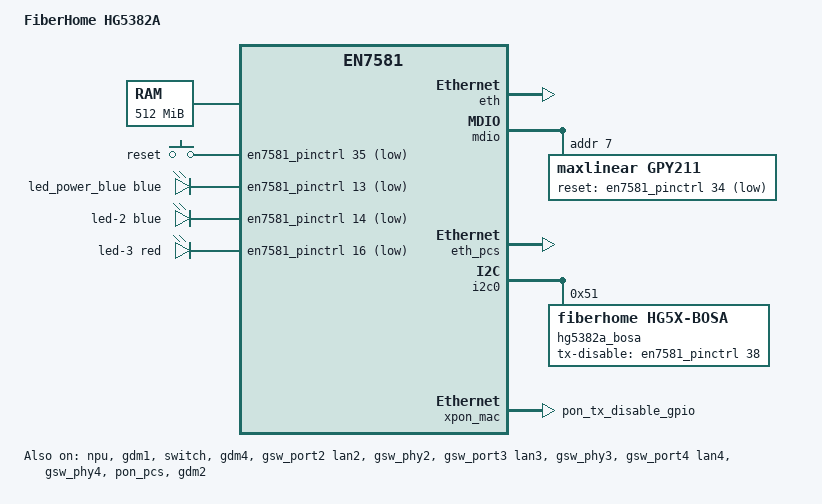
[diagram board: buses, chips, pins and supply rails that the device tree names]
// SPDX-License-Identifier: (GPL-2.0-only OR BSD-2-Clause)
/dts-v1/;

/* Firmware reserves the first 2 MiB of DRAM. */
/memreserve/ 0x80000000 0x200000;

#include <dt-bindings/gpio/gpio.h>
#include <dt-bindings/input/input.h>
#include <dt-bindings/leds/common.h>
#include "an7581.dtsi"
#include "an7581-fiberhome-ubi-parts.dtsi"

/* FiberHome HG5382A board description. */

/ {
	model = "FiberHome HG5382A";
	compatible = "fiberhome,hg5382a", "airoha,an7581", "airoha,en7581";

	aliases {
		/* OpenWrt diag state controls the power LED. */
		led-boot = &led_power_blue;
		led-failsafe = &led_power_blue;
		led-running = &led_power_blue;
		led-upgrade = &led_power_blue;

		serial0 = &uart1;
	};

	chosen {
		/* fitblk locates the FIT-embedded read-only rootfs through this volume. */
		rootdisk = <&ubi_fit>;
		bootargs = "console=ttyS0,115200 earlycon";
		stdout-path = "serial0:115200n8";
	};

	memory@80000000 {
		device_type = "memory";
		reg = <0x0 0x80000000 0x0 0x20000000>;
	};

	keys {
		compatible = "gpio-keys";

		key-reset {
			label = "reset";
			linux,code = <KEY_RESTART>;
			/* The reset key drives GPIO35 low. */
			gpios = <&en7581_pinctrl 35 GPIO_ACTIVE_LOW>;
			debounce-interval = <60>;
		};
	};

	leds {
		compatible = "gpio-leds";

		/* The active-low power LED is connected to GPIO13. */
		led_power_blue: led-0 {
			color = <LED_COLOR_ID_BLUE>;
			function = LED_FUNCTION_POWER;
			gpios = <&en7581_pinctrl 13 GPIO_ACTIVE_LOW>;
		};

		/* PON registration maps O1-O3 to fast blink, O4 to slow blink, and O5 on. */
		led-2 {
			color = <LED_COLOR_ID_BLUE>;
			function = LED_FUNCTION_WAN;
			gpios = <&en7581_pinctrl 14 GPIO_ACTIVE_LOW>;
			linux,default-trigger = "pon0-registration";
		};

		/* The LOS LED follows optical signal loss. */
		led-3 {
			color = <LED_COLOR_ID_RED>;
			function = LED_FUNCTION_WAN;
			gpios = <&en7581_pinctrl 16 GPIO_ACTIVE_LOW>;
			linux,default-trigger = "pon0-los";
		};
	};
};

&en7581_pinctrl {
	/* GPIO0 starts at pin 13 on AN7581. */
	gpio-ranges = <&en7581_pinctrl 0 13 50>;

	pon_pins: pon-pins {
		mux {
			/* Leave GPIO38/TX_DISABLE under optical frontend control. */
			function = "pon";
			groups = "pon_tx_disable_gpio";
		};
	};

	mdio_pins: mdio-pins {
		mux {
			function = "mdio";
			groups = "mdio";
		};
	};

	pnand_pins: pnand-pins {
		mux {
			/* NAND uses pins 4-7 and 30-42, leaving GPIO35 for reset. */
			function = "pnand";
			groups = "pnand";
		};
	};
};

&{/soc} {
	/* HG5382A uses an 8-bit TSOP48 parallel NAND. */
	/delete-node/ spi@1fa10000;
};

&npu {
	status = "okay";
};

&eth {
	status = "okay";
};

&gdm1 {
	/* The switch CPU port uses the board base MAC address. */
	nvmem-cells = <&fiberhome_base_mac 0>;
	nvmem-cell-names = "mac-address";
	status = "okay";
};

&switch {
	pinctrl-names = "default";
	pinctrl-0 = <&mdio_pins>;
	status = "okay";
};

&mdio {
	/* GPY211 uses MDIO address 7 and active-low GPIO34 reset. */
	gpy211: ethernet-phy@7 {
		/* Clause 45 fallback retains standard MDIO enumeration. */
		compatible = "maxlinear,gpy211",
			     "ethernet-phy-ieee802.3-c45";
		reg = <7>;
		reset-gpios = <&en7581_pinctrl 34 GPIO_ACTIVE_LOW>;
		reset-assert-us = <100000>;
		reset-deassert-us = <100000>;
	};
};

&eth_pcs {
	/* HSGMII connects the external 2.5G LAN PHY. */
	status = "okay";
};

&gdm4 {
	/* The external 2.5G port and switch CPU port share the factory base MAC. */
	nvmem-cells = <&fiberhome_base_mac 0>;
	nvmem-cell-names = "mac-address";
	status = "okay";
	phy-handle = <&gpy211>;
	phy-mode = "2500base-x";
	openwrt,netdev-name = "lan1";
};

/* Internal PHY2, PHY3, and PHY4 connect the remaining copper ports. */
&gsw_port2 {
	label = "lan2";
	status = "okay";
};

&gsw_phy2 {
	status = "okay";
};

&gsw_port3 {
	label = "lan3";
	status = "okay";
};

&gsw_phy3 {
	status = "okay";
};

&gsw_port4 {
	label = "lan4";
	status = "okay";
};

&gsw_phy4 {
	status = "okay";
};

&i2c0 {
	status = "okay";

	/* GPIO38 is the active-high optical TX_DISABLE signal. */
	hg5382a_bosa: optical-front-end@51 {
		compatible = "fiberhome,hg5x-bosa", "airoha,paged-bosa";
		reg = <0x51>;
		/* BURST_EN_INV zero selects active-high BEN. */
		fiberhome,ben-active-high;
		nvmem-cells = <&pon_calibration>;
		nvmem-cell-names = "calibration";
		tx-disable-gpios = <&en7581_pinctrl 38 GPIO_ACTIVE_HIGH>;
		status = "okay";
	};
};

&pon_pcs {
	status = "okay";
};

&xpon_mac {
	pinctrl-names = "default";
	pinctrl-0 = <&pon_pins>;
	optical-front-end = <&hg5382a_bosa>;
	data-path = <&gdm2>;
	nvmem-cells = <&fiberhome_pon_serial>;
	nvmem-cell-names = "pon-serial";
	status = "okay";
};

&gdm2 {
	/* XG-PON activation and service GEM state drive pon0 carrier. */
	nvmem-cells = <&fiberhome_base_mac 0>;
	nvmem-cell-names = "mac-address";
	airoha,pon-data-path;
	status = "okay";
};
